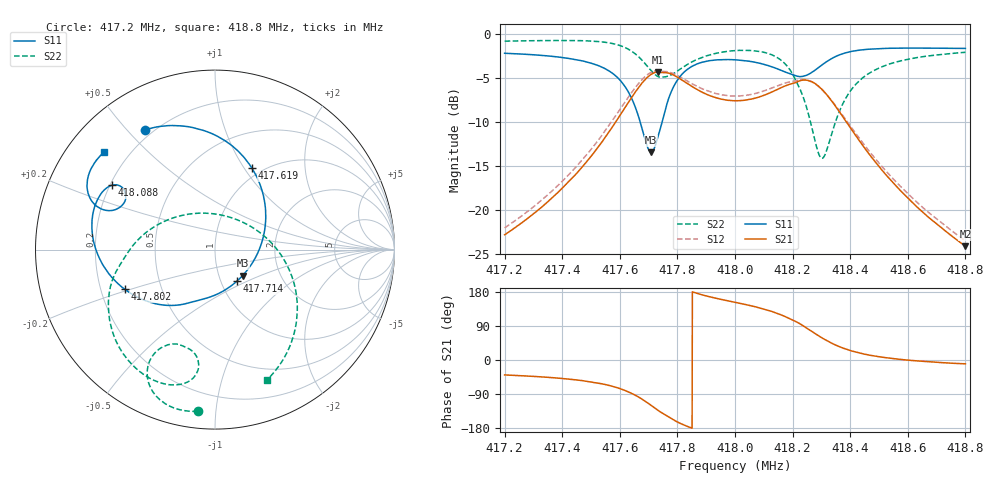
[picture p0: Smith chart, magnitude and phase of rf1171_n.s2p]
!RF1171,  DEMO1,narrow,BN,8/25/06
# HZ S RI R 50
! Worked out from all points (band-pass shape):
!   1601 points, 417.2 MHz to 418.8 MHz, reference 50 ohm
!   highest |S21| = -4.36 dB at 417.732 MHz (marker M1); lowest = -24.2 dB at 418.8 MHz (marker M2)
!   |S21| within 3 dB of the highest: 417.6389 MHz to 417.9419 MHz (303 kHz wide, 0.0725 % of centre); 418.0664 MHz to 418.3289 MHz (262.5 kHz wide, 0.0628 % of centre)
!   lowest |S11| = -13.5 dB at 417.709 MHz (marker M3), VSWR 1.54, Z = 64.8 - j19.6 ohm
!   |S11| at or under -10 dB: 417.6704 MHz to 417.7475 MHz (77.04 kHz wide, 0.0184 % of centre)
!   |S22| runs from -14.2 to -0.8 dB; largest |S21 - S12| = 0.032
!   S11 on the Smith chart (normalised r, x): 417.2 MHz: 0.17, +0.56; 417.619 MHz: 0.90, +1.08; 417.714 MHz: 1.19, -0.44; 417.802 MHz: 0.30, -0.19; 418.088 MHz: 0.21, +0.28; 418.8 MHz: 0.11, +0.37
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4.172e8  -0.3881 0.6682  0.0557 -0.0456  0.0623 -0.0481  -0.0952 -0.9005
4.17467e8  -0.1502 0.6849  0.1011 -0.1402  0.1119 -0.1528  -0.2307 -0.8814
4.17558e8  0.0363 0.619  0.1087 -0.2468  0.1158 -0.2698  -0.3132 -0.831
4.17619e8  0.2064 0.4529  0.0618 -0.3767  0.0557 -0.4066  -0.3683 -0.7459
4.1767e8  0.2813 0.148  -0.0873 -0.499  -0.1099 -0.5206  -0.3663 -0.6264
4.17709e8  0.154 -0.1445  -0.2915 -0.5092  -0.3131 -0.515  -0.2915 -0.5422
4.17714e8  0.1223 -0.1754  -0.3191 -0.4998  -0.3388 -0.5044  -0.2771 -0.5356
4.17732e8  -0.00992 -0.2577  -0.4087 -0.4461  -0.4217 -0.4483  -0.2224 -0.5256
4.17734e8  -0.0255 -0.2634  -0.417 -0.4381  -0.4292 -0.4406  -0.2162 -0.5259
4.17767e8  -0.2764 -0.3102  -0.5133 -0.3061  -0.5181 -0.3156  -0.1426 -0.5539
4.17802e8  -0.5035 -0.2205  -0.5417 -0.1519  -0.5493 -0.1706  -0.0969 -0.608
4.17874e8  -0.6763 0.045  -0.4733 0.0451  -0.4954 0.0275  -0.1167 -0.7104
4.18e8  -0.6441 0.2975  -0.3676 0.1936  -0.3962 0.195  -0.2896 -0.746
4.18088e8  -0.5741 0.3586  -0.3209 0.2988  -0.344 0.3133  -0.4616 -0.6411
4.1819e8  -0.5012 0.3156  -0.1681 0.4873  -0.1701 0.5038  -0.5856 -0.2203
4.18231e8  -0.5082 0.258  -0.0286 0.5417  -0.0279 0.5485  -0.4612 0.0174
4.18267e8  -0.56 0.2211  0.1357 0.5147  0.1286 0.5162  -0.2318 0.1771
4.18305e8  -0.6297 0.225  0.2592 0.3995  0.2441 0.4075  0.0643 0.1856
4.18373e8  -0.7044 0.3051  0.2879 0.1801  0.28 0.2011  0.3897 -0.0648
4.1845e8  -0.7096 0.3932  0.216 0.0592  0.2189 0.0775  0.4583 -0.3411
4.18534e8  -0.689 0.4534  0.1507 0.0132  0.1571 0.0255  0.4251 -0.5177
4.188e8  -0.6206 0.541  0.0611 -0.0108  0.066 -0.00739  0.2884 -0.7275
